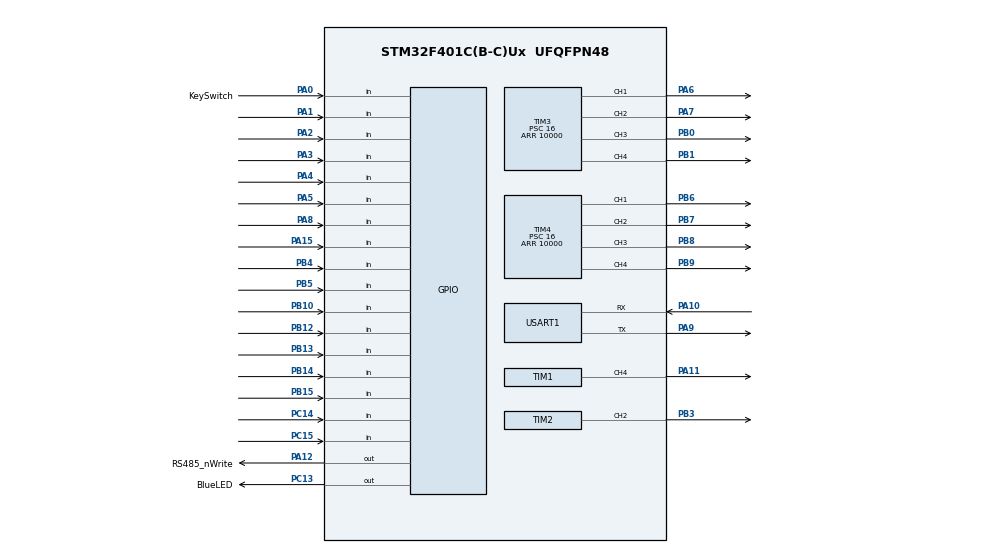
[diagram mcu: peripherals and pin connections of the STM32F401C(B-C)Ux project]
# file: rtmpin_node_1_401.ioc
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Dma.Request0=TIM2_CH2/CH4
Dma.TIM2_CH2/CH4.0.Direction=DMA_MEMORY_TO_PERIPH
Dma.TIM2_CH2/CH4.0.FIFOMode=DMA_FIFOMODE_DISABLE
Dma.TIM2_CH2/CH4.0.Instance=DMA1_Stream6
Dma.TIM2_CH2/CH4.0.MemDataAlignment=DMA_MDATAALIGN_WORD
Dma.TIM2_CH2/CH4.0.MemInc=DMA_MINC_ENABLE
Dma.TIM2_CH2/CH4.0.Mode=DMA_CIRCULAR
Dma.TIM2_CH2/CH4.0.PeriphDataAlignment=DMA_PDATAALIGN_WORD
Dma.TIM2_CH2/CH4.0.PeriphInc=DMA_PINC_DISABLE
Dma.TIM2_CH2/CH4.0.Priority=DMA_PRIORITY_HIGH
Mcu.Family=STM32F4
Mcu.Name=STM32F401C(B-C)Ux
Mcu.Package=UFQFPN48
Mcu.UserConstants=SOLFORCE25,4300;SOLFORCE50,7500
NVIC.DMA1_Stream6_IRQn=true\:0\:0\:false\:false\:true\:false\:true
NVIC.PriorityGroup=NVIC_PRIORITYGROUP_4
NVIC.USART1_IRQn=true\:0\:0\:false\:false\:true\:true\:true
PA0-WKUP.GPIO_Label=KeySwitch
PA0-WKUP.Signal=GPIO_Input
PA1.GPIO_PuPd=GPIO_PULLUP
PA1.Signal=GPIO_Input
PA10.Mode=Asynchronous
PA10.Signal=USART1_RX
PA11.Signal=S_TIM1_CH4
PA12.GPIO_Label=RS485_nWrite
PA12.GPIO_PuPd=GPIO_NOPULL
PA12.Signal=GPIO_Output
PA13.Mode=Serial_Wire
PA13.Signal=SYS_JTMS-SWDIO
PA14.Mode=Serial_Wire
PA14.Signal=SYS_JTCK-SWCLK
PA15.GPIO_PuPd=GPIO_PULLUP
PA15.Signal=GPIO_Input
PA2.GPIO_PuPd=GPIO_PULLUP
PA2.Signal=GPIO_Input
PA3.GPIO_PuPd=GPIO_PULLUP
PA3.Signal=GPIO_Input
PA4.GPIO_PuPd=GPIO_PULLUP
PA4.Signal=GPIO_Input
PA5.GPIO_PuPd=GPIO_PULLUP
PA5.Signal=GPIO_Input
PA6.Signal=S_TIM3_CH1
PA7.Signal=S_TIM3_CH2
PA8.GPIO_PuPd=GPIO_PULLUP
PA8.Signal=GPIO_Input
PA9.Mode=Asynchronous
PA9.Signal=USART1_TX
PB0.Signal=S_TIM3_CH3
PB1.Signal=S_TIM3_CH4
PB10.GPIO_PuPd=GPIO_PULLUP
PB10.Signal=GPIO_Input
PB12.GPIO_PuPd=GPIO_PULLUP
PB12.Signal=GPIO_Input
PB13.GPIO_PuPd=GPIO_PULLUP
PB13.Signal=GPIO_Input
PB14.GPIO_PuPd=GPIO_PULLUP
PB14.Signal=GPIO_Input
PB15.GPIO_PuPd=GPIO_PULLUP
PB15.Signal=GPIO_Input
PB3.Signal=S_TIM2_CH2
PB4.GPIO_PuPd=GPIO_PULLUP
PB4.Signal=GPIO_Input
PB5.GPIO_PuPd=GPIO_PULLUP
PB5.Signal=GPIO_Input
PB6.Signal=S_TIM4_CH1
PB7.Signal=S_TIM4_CH2
PB8.Signal=S_TIM4_CH3
PB9.Signal=S_TIM4_CH4
PC13-ANTI_TAMP.GPIO_Label=BlueLED
PC13-ANTI_TAMP.Signal=GPIO_Output
PC14-OSC32_IN.GPIO_PuPd=GPIO_PULLUP
PC14-OSC32_IN.Signal=GPIO_Input
PC15-OSC32_OUT.GPIO_PuPd=GPIO_PULLUP
PC15-OSC32_OUT.Signal=GPIO_Input
PH0\ -\ OSC_IN.Mode=HSE-External-Oscillator
PH0\ -\ OSC_IN.Signal=RCC_OSC_IN
PH1\ -\ OSC_OUT.Mode=HSE-External-Oscillator
PH1\ -\ OSC_OUT.Signal=RCC_OSC_OUT
ProjectManager.HeapSize=0x200
ProjectManager.StackSize=0x400
ProjectManager.TargetToolchain=STM32CubeIDE
RCC.48MHZClocksFreq_Value=42000000
RCC.AHBFreq_Value=84000000
RCC.APB1CLKDivider=RCC_HCLK_DIV2
RCC.APB1Freq_Value=42000000
RCC.APB1TimFreq_Value=84000000
RCC.APB2Freq_Value=84000000
RCC.APB2TimFreq_Value=84000000
RCC.CortexFreq_Value=84000000
RCC.HCLKFreq_Value=84000000
RCC.HSE_VALUE=25000000
RCC.HSI_VALUE=16000000
RCC.LSE_VALUE=32768
RCC.PLLM=25
RCC.PLLN=168
RCC.PLLSourceVirtual=RCC_PLLSOURCE_HSE
RCC.SYSCLKFreq_VALUE=84000000
RCC.SYSCLKSource=RCC_SYSCLKSOURCE_PLLCLK
RCC.VCOOutputFreq_Value=168000000
SH.S_TIM1_CH4.0=TIM1_CH4,PWM Generation4 CH4
SH.S_TIM2_CH2.0=TIM2_CH2,PWM Generation2 CH2
SH.S_TIM3_CH1.0=TIM3_CH1,PWM Generation1 CH1
SH.S_TIM3_CH2.0=TIM3_CH2,PWM Generation2 CH2
SH.S_TIM3_CH3.0=TIM3_CH3,PWM Generation3 CH3
SH.S_TIM3_CH4.0=TIM3_CH4,PWM Generation4 CH4
SH.S_TIM4_CH1.0=TIM4_CH1,PWM Generation1 CH1
SH.S_TIM4_CH2.0=TIM4_CH2,PWM Generation2 CH2
SH.S_TIM4_CH3.0=TIM4_CH3,PWM Generation3 CH3
SH.S_TIM4_CH4.0=TIM4_CH4,PWM Generation4 CH4
TIM1.Channel-PWM\ Generation4\ CH4=TIM_CHANNEL_4
TIM2.Channel-PWM\ Generation2\ CH2=TIM_CHANNEL_2
TIM2.Period=104
TIM2.Pulse-PWM\ Generation2\ CH2=0
TIM3.Channel-PWM\ Generation1\ CH1=TIM_CHANNEL_1
TIM3.Channel-PWM\ Generation2\ CH2=TIM_CHANNEL_2
TIM3.Channel-PWM\ Generation3\ CH3=TIM_CHANNEL_3
TIM3.Channel-PWM\ Generation4\ CH4=TIM_CHANNEL_4
TIM3.Period=10000
TIM3.Prescaler=16
TIM3.Pulse-PWM\ Generation1\ CH1=SOLFORCE25
TIM3.Pulse-PWM\ Generation2\ CH2=SOLFORCE25
TIM3.Pulse-PWM\ Generation3\ CH3=SOLFORCE25
TIM3.Pulse-PWM\ Generation4\ CH4=SOLFORCE25
TIM4.Channel-PWM\ Generation1\ CH1=TIM_CHANNEL_1
TIM4.Channel-PWM\ Generation2\ CH2=TIM_CHANNEL_2
TIM4.Channel-PWM\ Generation3\ CH3=TIM_CHANNEL_3
TIM4.Channel-PWM\ Generation4\ CH4=TIM_CHANNEL_4
TIM4.Period=10000
TIM4.Prescaler=16
TIM4.Pulse-PWM\ Generation1\ CH1=SOLFORCE50
TIM4.Pulse-PWM\ Generation2\ CH2=9000
TIM4.Pulse-PWM\ Generation3\ CH3=10000
TIM4.Pulse-PWM\ Generation4\ CH4=SOLFORCE50
USART1.VirtualMode=VM_ASYNC
VP_CRC_VS_CRC.Mode=CRC_Activate
VP_TIM1_VS_ClockSourceINT.Mode=Internal
VP_TIM2_VS_ClockSourceINT.Mode=Internal
VP_TIM3_VS_ClockSourceINT.Mode=Internal
VP_TIM4_VS_ClockSourceINT.Mode=Internal
board=custom

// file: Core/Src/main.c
/* USER CODE BEGIN Header */
/**
  ******************************************************************************
  * @file           : main.c
  * @brief          : Main program body
  ******************************************************************************
  * @attention
  *
  * Copyright (c) 2022 STMicroelectronics.
  * All rights reserved.
  *
  * This software is licensed under terms that can be found in the LICENSE file
  * in the root directory of this software component.
  * If no LICENSE file comes with this software, it is provided AS-IS.
  *
  ******************************************************************************
  */
/* USER CODE END Header */
#include "main.h"

CRC_HandleTypeDef hcrc;

/* USER CODE BEGIN PV */
uint8_t dataArrived = 0;
uint8_t currentRx = 0;

static uint32_t tmp_led_data[2*3*8];
static uint32_t current_led;        /*!< Current LED number we are sending */

uint32_t led[NR_OF_LEDS]; /* holds the color (0xWWRRGGBB) of all LEDs */

uint8_t rxBuffer[17]; /* addr&length + data (max 16) */
uint8_t rxBufferUpdated; /* new frame complete */
uint8_t nodeStatus; /* 	      * 0 -> standard (receiving) operation
                              * 1 -> send data to Pi
                              * 2 -> Software update of this node
                              * 3 -> Software update of other nodes */

/* USER CODE END PV */

void SystemClock_Config(void);
static void MX_GPIO_Init(void);
static void MX_DMA_Init(void);
static void MX_TIM1_Init(void);
static void MX_TIM2_Init(void);
static void MX_TIM3_Init(void);
static void MX_TIM4_Init(void);
static void MX_USART1_UART_Init(void);
static void MX_CRC_Init(void);

/* USER CODE BEGIN 0 */

/* Control of LED strips is  based on this idea: https://stm32f4-discovery.net/2018/06/tutorial-control-ws2812b-leds-stm32/ */
/**
 * \brief           Prepares data from memory for PWM output for timer
 * \note            Memory is in format R,G,B, while PWM must be configured in G,R,B[,W]
 * \param[in]       ledx: LED index to set the color
 * \param[out]      ptr: Output array with at least LED_CFG_RAW_BYTES_PER_LED-words of memory
 */
static uint8_t led_fill_led_pwm_data(uint8_t ledx, uint32_t* ptr) {
    uint8_t i;

    if (ledx < NR_OF_LEDS) {
        for (i = 0; i < 8; i++) {
            ptr[i] =        (led[ledx] & (1 << (15 - i))) ? (2 * TIM2->ARR / 3) : (TIM2->ARR / 3);
            ptr[8 + i] =    (led[ledx] & (1 << (23 - i))) ? (2 * TIM2->ARR / 3) : (TIM2->ARR / 3);
            ptr[16 + i] =   (led[ledx] & (1 << (7 - i))) ? (2 * TIM2->ARR / 3) : (TIM2->ARR / 3);
        }
        return 1;
    }
    return 0;
}

/**
 * \brief           Update sequence function, called on each DMA transfer complete or half-transfer complete events
 * \param[in]       tc: Transfer complete flag. Set to `1` on TC event, or `0` on HT event
 *
 * \note            TC = Transfer-Complete event, called at the end of block
 * \note            HT = Half-Transfer-Complete event, called in the middle of elements transfered by DMA
 *                  If block is 48 elements (our case),
 *                      HT is called when first LED_CFG_RAW_BYTES_PER_LED elements are transfered,
 *                      TC is called when second LED_CFG_RAW_BYTES_PER_LED elements are transfered.
 *
 * \note            This function must be called from DMA interrupt
 */
void led_update_sequence(uint8_t tc) {
    tc = !!tc;                                  /* Convert to 1 or 0 value only */

    if (current_led < NR_OF_LEDS) {

			current_led++;
			/*
			 *  if there was no TC event (it was HT):
			 *
			 *  - Prepare first part of array, because either there is no transfer
			 *      or second part (from HT to TC) is now in process for PWM transfer
			 *
			 * In other case (TC = 1)
			 */
			if (!tc) {
				led_fill_led_pwm_data(current_led, &tmp_led_data[0]);
			} else {
				led_fill_led_pwm_data(current_led, &tmp_led_data[3*8]);
			}

	/*
	 * When we reached all leds, we have to wait to transmit data for all leds before we can disable DMA and PWM:
	 *
	 *  - If TC event is enabled and we have EVEN number of LEDS (2, 4, 6, ...)
	 *  - If HT event is enabled and we have ODD number of LEDS (1, 3, 5, ...)
	 */
	} else if ((!tc && (NR_OF_LEDS & 0x01)) || (tc && !(NR_OF_LEDS & 0x01))) {
		LL_TIM_CC_DisableChannel(TIM2, LL_TIM_CHANNEL_CH2); /* Disable channel */
		LL_TIM_DisableCounter(TIM2);
		LL_DMA_DisableStream(DMA1, LL_DMA_STREAM_6);
	}
}

void handleSerialData() {
	static uint32_t lastTick;
	static uint8_t rxLength; /* number of data bytes to be received. addr&length not counted;  */
	static uint8_t rxByteNr;  /* index of received byte (start with 0) */
	static uint8_t rxAddress; /* node to be addressed, read from first byte */
	static uint8_t nodesSending; /* mode when nodes are sending and Pi is quiet */

	if ( (uwTick - lastTick) > 5 ) /* resync if there was no data for longer than 5 ms */
	{
		rxLength = 0;
		rxByteNr = 0;
		rxAddress = 0;
		nodesSending = 0;
	}
	lastTick = uwTick;

	if ( nodesSending ) {
		rxByteNr++;
		if ( rxByteNr == 2*NODE_ADDRESS ) { /* this node is about to send except if its node 0 */
			nodeStatus = 1;
			rxByteNr += 2;
		}
		if ( rxByteNr == 2*NR_OF_NODES ) { /* all nodes finished sending */
			nodesSending = 0;
			rxByteNr = 0;
		}
	} else {
		if ( rxByteNr == 0 ) {
			rxByteNr++;
			rxLength = currentRx & 0xf; /* get length */
			rxAddress = currentRx>>4;  /* get address */

			if ( rxLength == 0xf ) /* Software update */
			{
				rxLength = 16; /* 16 bytes, that it is a multiple of 4 (good for CRC calculation) */
				if ( rxAddress == NODE_ADDRESS )
				{
					nodeStatus = 2; /* Software update of this node */
				} else
				{
					nodeStatus = 3;  /* Software update of other node */
				}
			}

			if ( rxAddress == NODE_ADDRESS ) {
				rxBuffer[0] = currentRx;
			}

			if ( (rxAddress == 14) && (nodeStatus != 2) && (nodeStatus != 3) ) {
				if (NODE_ADDRESS == 0) { /* start sending if this is node 0 */
					nodeStatus = 1;
					rxByteNr = 2;
				} else {
					rxByteNr = 0;
				}
				if (NR_OF_NODES > 1) {
					nodesSending = 1; /* more nodes are connected */
				} else {
					rxByteNr = 0;  /* this is the one and only node */
				}
			}
		} else {
			if ( rxAddress == NODE_ADDRESS ) {
				rxBuffer[rxByteNr] = currentRx;
			}
			if (rxByteNr == rxLength) {
				rxByteNr = 0;
				if ( rxAddress == NODE_ADDRESS ) {
					rxBufferUpdated = 1;
				}
			} else {
				rxByteNr++;
			}
		}
	}

}

/* USER CODE END 0 */

int main(void)
{
  /* USER CODE BEGIN 1 */

	/* to be started form bootloader, see also
	 * https://embetronicx.com/tutorials/microcontrollers/stm32/bootloader/simple-stm32-bootloader-implementation-bootloader-tutorial/
	 * edit system_stm32f4xx.c as well to enter offset and #define USER_VECT_TAB_ADDRESS
	 * and edit linker script STM32F401CCUX_FLASH.ld */
	__disable_irq();
	SCB->VTOR = 0x8004000;
	__DSB();
	__enable_irq();

  /* USER CODE END 1 */

  /* MCU Configuration--------------------------------------------------------*/

  /* Reset of all peripherals, Initializes the Flash interface and the Systick. */
  HAL_Init();

  /* USER CODE BEGIN Init */
  rxBufferUpdated = 0;

  nodeStatus = 0;
  for (uint8_t bb = 0; bb < 17; bb++)
  {
	  rxBuffer[bb] = 0;
  }

  uint8_t txSwitchesByte1 = 0; /* all switches off, switches are low-active */
  uint8_t txSwitchesByte2 = 0;
  uint8_t prevTxSwitchByte1 = 0;
  uint8_t prevTxSwitchByte2 = 0;
  uint8_t txByte1_transmitted = 0;
  uint32_t stReload;
  uint32_t stNow, stOld;
  uint32_t stTicks = 0;
  uint32_t slingPulse = 0;
  uint32_t bumprightPulse = 0;
  uint32_t bumpmidPulse = 0;
  uint32_t bumpleftPulse = 0;
  uint32_t kickbackPulse = 0;
  uint32_t kickbackGrace = 0;
  uint32_t flipperPulse = 0;
  uint32_t readyToSendCounter = 0;
  uint32_t packetWatchDog = 0;

  /* USER CODE END Init */

  /* Configure the system clock */
  SystemClock_Config();

  /* Initialize all configured peripherals */
  MX_GPIO_Init();
  MX_DMA_Init();
  MX_TIM1_Init();
  MX_TIM2_Init();
  MX_TIM3_Init();
  MX_TIM4_Init();
  MX_USART1_UART_Init();
  MX_CRC_Init();
  /* USER CODE BEGIN 2 */

  /* All outputs off */
  LL_TIM_CC_DisableChannel (TIM3, LL_TIM_CHANNEL_CH1);
  LL_TIM_CC_DisableChannel (TIM3, LL_TIM_CHANNEL_CH2);
  LL_TIM_CC_DisableChannel (TIM3, LL_TIM_CHANNEL_CH3);
  LL_TIM_CC_DisableChannel (TIM3, LL_TIM_CHANNEL_CH4);
  LL_TIM_CC_DisableChannel (TIM4, LL_TIM_CHANNEL_CH1);
  LL_TIM_CC_DisableChannel (TIM4, LL_TIM_CHANNEL_CH2);
  LL_TIM_CC_DisableChannel (TIM4, LL_TIM_CHANNEL_CH3);
  LL_TIM_CC_DisableChannel (TIM4, LL_TIM_CHANNEL_CH4);
  LL_TIM_EnableCounter(TIM3);
  LL_TIM_EnableCounter(TIM4);

  stOld = SysTick->VAL;
  stReload = SysTick->LOAD;

  /* USER CODE END 2 */

  /* Infinite loop */
  /* USER CODE BEGIN WHILE */
  while (1)
  {
		/* count systicks. Only works that easy as the while loop is shorter than 1 ms!! Ohterwise make a systick interrupt */
	    stNow = SysTick->VAL;
		if( stNow != stOld )
		{
			if ( stNow < stOld )
			{
				stTicks = (stOld - stNow);
			}
			else
			{
				stTicks = (stReload - stNow + stOld);
			}
			stOld = stNow;
		}

		if(dataArrived)
		{
			dataArrived = 0;
			handleSerialData();
		}

		/* ---------- SW update  ----------- */

		if ( nodeStatus == 3 ) /* Software update of other node */
		{
			  NVIC_DisableIRQ(USART1_IRQn);
			  /* All outputs off */
			  LL_TIM_CC_DisableChannel (TIM3, LL_TIM_CHANNEL_CH1);
			  LL_TIM_CC_DisableChannel (TIM3, LL_TIM_CHANNEL_CH2);
			  LL_TIM_CC_DisableChannel (TIM3, LL_TIM_CHANNEL_CH3);
			  LL_TIM_CC_DisableChannel (TIM3, LL_TIM_CHANNEL_CH4);
			  LL_TIM_CC_DisableChannel (TIM4, LL_TIM_CHANNEL_CH1);
			  LL_TIM_CC_DisableChannel (TIM4, LL_TIM_CHANNEL_CH2);
			  LL_TIM_CC_DisableChannel (TIM4, LL_TIM_CHANNEL_CH3);
			  LL_TIM_CC_DisableChannel (TIM4, LL_TIM_CHANNEL_CH4);
			  LL_TIM_EnableCounter(TIM3);
			  LL_TIM_EnableCounter(TIM4);
			  txSwitchesByte1 = 0; /* all switches off */
			  txSwitchesByte2 = 0;
			  prevTxSwitchByte1 = 0;
			  prevTxSwitchByte2 = 0;
			  LL_GPIO_ResetOutputPin(BlueLED_GPIO_Port, BlueLED_Pin);

	  		  HAL_Delay(20000);
			  NVIC_SystemReset();
		}

		/* write new code to flash and reset */
		if (rxBufferUpdated && (nodeStatus == 2) ) /* Software update */
		{
			uint8_t ww = 0;
			uint32_t loopcounter = 0; /* timer */
			uint8_t blbl = 0; /* blink blink - so oft wird geblinkt */
			uint32_t writeAddress = 0x08020000; /* begin of sector 5 */
			HAL_FLASH_Unlock();

			while (1)
			{
				if(dataArrived)
				{
					dataArrived = 0;
					handleSerialData();
				}

				if (rxBufferUpdated && (nodeStatus == 2) )
				{
					rxBufferUpdated = 0;
					loopcounter = 0;
					LL_GPIO_TogglePin (GPIOC, LL_GPIO_PIN_13);
					for (ww = 0; ww < 16; ww++)
					{
						HAL_FLASH_Program(FLASH_TYPEPROGRAM_BYTE, writeAddress, ((uint8_t *)(rxBuffer+1))[ww] );
						writeAddress++;
					}
				}
				loopcounter++;
				if ( loopcounter > 3000000 ) /* ganz grob eine Sekunde */
				{
					LL_GPIO_TogglePin (GPIOC, LL_GPIO_PIN_13);
					loopcounter = 0;
					blbl++;
				}
				if (blbl == 6) NVIC_SystemReset();
			}
		}
		/* ---------- SW update end ----------- */

		if (rxBufferUpdated) {
		  LL_GPIO_TogglePin (GPIOC, LL_GPIO_PIN_13);
		  rxBufferUpdated = 0;
		  packetWatchDog = 0;

		  led[0] = ((rxBuffer[2]>>7)&1) ? BLUE : BLACK;
		  led[1] = ((rxBuffer[2]>>6)&1) ? RED : BLACK;
		  led[2] = ((rxBuffer[2]>>5)&1) ? ORANGE : BLACK;
		  led[3] = ((rxBuffer[2]>>4)&1) ? RED : BLACK;
		  led[4] = ((rxBuffer[2]>>3)&1) ? RED : BLACK;
		  led[5] = ((rxBuffer[2]>>2)&1) ? WHITE : BLACK;
		  led[6] = ((rxBuffer[2]>>1)&1) ? WHITE : BLACK;
		  led[7] = ((rxBuffer[2]>>0)&1) ? RED : BLACK;

		  led[8] = ((rxBuffer[3]>>7)&1) ? RED : BLACK;
		  led[9] = ((rxBuffer[3]>>6)&1) ? RED : BLACK;
		  led[10] = ((rxBuffer[3]>>5)&1) ? RED : BLACK;
		  led[11] = ((rxBuffer[3]>>4)&1) ? ORANGE : BLACK;
		  led[12] = ((rxBuffer[3]>>3)&1) ? RED : BLACK;
		  led[13] = ((rxBuffer[3]>>2)&1) ? ORANGE : BLACK;
		  led[14] = ((rxBuffer[3]>>1)&1) ? ORANGE : BLACK;
		  led[15] = ((rxBuffer[3]>>0)&1) ? RED : BLACK;

		  led[16] = ((rxBuffer[4]>>7)&1) ? RED : BLACK;
		  led[17] = ((rxBuffer[4]>>6)&1) ? WHITE : BLACK;
		  led[18] = ((rxBuffer[4]>>5)&1) ? RED : BLACK;
		  led[19] = ((rxBuffer[4]>>4)&1) ? YELLOW : BLACK;
		  led[20] = ((rxBuffer[4]>>3)&1) ? RED : BLACK;
		  led[21] = ((rxBuffer[4]>>2)&1) ? RED : BLACK;
		  led[22] = ((rxBuffer[4]>>1)&1) ? RED : BLACK;
		  led[23] = ((rxBuffer[4]>>0)&1) ? RED : BLACK;

		  led[24] = ((rxBuffer[5]>>7)&1) ? WHITE : BLACK;
		  led[25] = ((rxBuffer[5]>>6)&1) ? RED : BLACK;
		  led[26] = ((rxBuffer[5]>>5)&1) ? PINK : BLACK;
		  led[27] = ((rxBuffer[5]>>4)&1) ? WHITE : BLACK;
		  led[28] = ((rxBuffer[5]>>3)&1) ? WHITE : BLACK;
		  led[29] = ((rxBuffer[5]>>2)&1) ? WHITE : BLACK;
		  led[30] = ((rxBuffer[5]>>1)&1) ? RED : BLACK;
/*		  led[31] = ((rxBuffer[5]>>0)&1) ? WHITE : BLACK;*/
		  if ((rxBuffer[5]>>0)&1) led[31] = WHITE;
		  else if ((rxBuffer[9]>>7)&1) led[31] = RED;
		  else if ((rxBuffer[9]>>6)&1) led[31] = YELLOW;
		  else if ((rxBuffer[9]>>5)&1) led[31] = GREEN;
		  else led[31] = BLACK;

/*		  led[32] = ((rxBuffer[6]>>7)&1) ? WHITE : BLACK;*/
		  if ((rxBuffer[6]>>7)&1) led[32] = WHITE;
		  else if ((rxBuffer[8]>>5)&1) led[32] = RED;
		  else if ((rxBuffer[8]>>4)&1) led[32] = YELLOW;
		  else if ((rxBuffer[8]>>3)&1) led[32] = GREEN;
		  else led[32] = BLACK;
		  led[33] = ((rxBuffer[6]>>6)&1) ? RED : BLACK;
		  led[34] = ((rxBuffer[6]>>5)&1) ? RED : BLACK;
		  led[35] = ((rxBuffer[6]>>4)&1) ? RED : BLACK;
		  led[36] = ((rxBuffer[6]>>3)&1) ? RED : BLACK;
		  led[37] = ((rxBuffer[6]>>2)&1) ? WHITE : BLACK;
		  led[38] = ((rxBuffer[6]>>1)&1) ? WHITE : BLACK;
		  led[39] = ((rxBuffer[6]>>0)&1) ? WHITE : BLACK;

		  led[40] = ((rxBuffer[7]>>7)&1) ? ORANGE : BLACK;
		  led[41] = ((rxBuffer[7]>>6)&1) ? WHITE : BLACK;
		  led[42] = ((rxBuffer[7]>>5)&1) ? ORANGE : BLACK;
		  led[43] = ((rxBuffer[7]>>4)&1) ? ORANGE : BLACK;
		  led[44] = ((rxBuffer[7]>>3)&1) ? ORANGE : BLACK;
		  led[45] = ((rxBuffer[7]>>2)&1) ? WHITE : BLACK;
		  led[46] = ((rxBuffer[7]>>1)&1) ? WHITE : BLACK;
		  led[47] = ((rxBuffer[7]>>0)&1) ? ORANGE : BLACK;

/*		  led[48] = ((rxBuffer[8]>>7)&1) ? WHITE : BLACK;*/
		  if ((rxBuffer[8]>>7)&1) led[48] = WHITE;
		  else if ((rxBuffer[9]>>4)&1) led[48] = RED;
		  else if ((rxBuffer[9]>>3)&1) led[48] = YELLOW;
		  else if ((rxBuffer[9]>>2)&1) led[48] = GREEN;
		  else led[48] = BLACK;
/*		  led[49] = ((rxBuffer[8]>>6)&1) ? WHITE : BLACK;*/
		  if ((rxBuffer[8]>>6)&1) led[49] = WHITE;
		  else if ((rxBuffer[8]>>2)&1) led[49] = RED;
		  else if ((rxBuffer[8]>>1)&1) led[49] = YELLOW;
		  else if ((rxBuffer[8]>>0)&1) led[49] = GREEN;
		  else led[49] = BLACK;
		  led[50] = ((rxBuffer[8]>>5)&1) ? RED : BLACK;  /* Dummy LED */
		  led[51] = ((rxBuffer[8]>>4)&1) ? YELLOW : BLACK;  /* Dummy LED */
		  led[52] = ((rxBuffer[8]>>3)&1) ? GREEN : BLACK;  /* Dummy LED */
		  led[53] = ((rxBuffer[8]>>2)&1) ? RED : BLACK;  /* Dummy LED */
		  led[54] = ((rxBuffer[8]>>1)&1) ? YELLOW : BLACK;  /* Dummy LED */
		  led[55] = ((rxBuffer[8]>>0)&1) ? GREEN : BLACK;  /* Dummy LED */

		  led[56] = ((rxBuffer[9]>>7)&1) ? RED : BLACK;  /* Dummy LED */
		  led[57] = ((rxBuffer[9]>>6)&1) ? YELLOW : BLACK;  /* Dummy LED */
		  led[58] = ((rxBuffer[9]>>5)&1) ? GREEN : BLACK;  /* Dummy LED */
		  led[59] = ((rxBuffer[9]>>4)&1) ? RED : BLACK;  /* Dummy LED */
		  led[60] = ((rxBuffer[9]>>3)&1) ? YELLOW : BLACK;  /* Dummy LED */
		  led[61] = ((rxBuffer[9]>>2)&1) ? GREEN : BLACK;  /* Dummy LED */

		  current_led = 0;
		  led_fill_led_pwm_data(current_led, &tmp_led_data[0]); /* first LED */
		  current_led++;
		  led_fill_led_pwm_data(current_led, &tmp_led_data[3*8]); /* second LED */

	      LL_DMA_ClearFlag_TC6(DMA1);
	      LL_DMA_ClearFlag_HT6(DMA1);
	      LL_DMA_EnableStream(DMA1, LL_DMA_STREAM_6);
	      LL_TIM_SetCounter (TIM2, 0);
	      LL_TIM_EnableCounter(TIM2);
	      LL_TIM_CC_EnableChannel(TIM2, LL_TIM_CHANNEL_CH2);

			/* Set and reset outputs (solenoids, magnets, flashers) */
			/* OB8 */
			/* OB8 -> left flipper controlled by flipper button. Pi only enables flipper generally (e.g. not tilt)
			((rxBuffer[1]>>7)&1) ?
				LL_TIM_CC_EnableChannel (TIM4, LL_TIM_CHANNEL_CH3) : LL_TIM_CC_EnableChannel (TIM4, LL_TIM_CHANNEL_CH3);*/
			/* OB9 */
			((rxBuffer[1]>>6)&1) ?
				LL_TIM_CC_EnableChannel (TIM4, LL_TIM_CHANNEL_CH4) : LL_TIM_CC_DisableChannel (TIM4, LL_TIM_CHANNEL_CH4);
			/* OB1 */
			/* OB1 -> left sling shot controlled by switch -> see later in code. Pi only enables sling generally */
			/*((rxBuffer[1]>>5)&1) ?
				LL_TIM_CC_EnableChannel (TIM3, LL_TIM_CHANNEL_CH4) : LL_TIM_CC_DisableChannel (TIM3, LL_TIM_CHANNEL_CH4);*/
			/* OB6 */
			((rxBuffer[1]>>4)&1) ?
				LL_TIM_CC_EnableChannel (TIM4, LL_TIM_CHANNEL_CH1) : LL_TIM_CC_DisableChannel (TIM4, LL_TIM_CHANNEL_CH1);
			/* OB7 */
			((rxBuffer[1]>>3)&1) ?
				LL_TIM_CC_EnableChannel (TIM4, LL_TIM_CHANNEL_CH2) : LL_TIM_CC_DisableChannel (TIM4, LL_TIM_CHANNEL_CH2);
			/* OA6 */
			/* OA6 -> Bumper controlled by switch -> see later in code. Pi only enables bumper generally */
			/*((rxBuffer[1]>>2)&1) ?
				LL_TIM_CC_EnableChannel (TIM3, LL_TIM_CHANNEL_CH1) : LL_TIM_CC_DisableChannel (TIM3, LL_TIM_CHANNEL_CH1);*/
			/* OA7 */
			/* OA6 -> Bumper controlled by switch -> see later in code. Pi only enables bumper generally */
			/*((rxBuffer[1]>>1)&1) ?
				LL_TIM_CC_EnableChannel (TIM3, LL_TIM_CHANNEL_CH2) : LL_TIM_CC_DisableChannel (TIM3, LL_TIM_CHANNEL_CH2);*/
			/* OB0 */
			/* OA6 -> Bumper controlled by switch -> see later in code. Pi only enables bumper generally */
			/*((rxBuffer[1]>>0)&1) ?
				LL_TIM_CC_EnableChannel (TIM3, LL_TIM_CHANNEL_CH3) : LL_TIM_CC_DisableChannel (TIM3, LL_TIM_CHANNEL_CH3);*/

		}

	    /* Poll switches and remember if they where activated until they are reset to 0
	     * after sent to Pi */
		txSwitchesByte1 |= (
				LL_GPIO_IsInputPinSet (GPIOA, LL_GPIO_PIN_8)<<7 |
				LL_GPIO_IsInputPinSet (GPIOA, LL_GPIO_PIN_5)<<6 |
				LL_GPIO_IsInputPinSet (GPIOA, LL_GPIO_PIN_4)<<5 |
				LL_GPIO_IsInputPinSet (GPIOA, LL_GPIO_PIN_3)<<4 |
				LL_GPIO_IsInputPinSet (GPIOA, LL_GPIO_PIN_2)<<3 |
				LL_GPIO_IsInputPinSet (GPIOA, LL_GPIO_PIN_1)<<2 |
				LL_GPIO_IsInputPinSet (GPIOB, LL_GPIO_PIN_13)<<1 |
				LL_GPIO_IsInputPinSet (GPIOB, LL_GPIO_PIN_12));
		txSwitchesByte2 |= (
				LL_GPIO_IsInputPinSet (GPIOB, LL_GPIO_PIN_10)<<7 |
				LL_GPIO_IsInputPinSet (GPIOB, LL_GPIO_PIN_5)<<6 |
				LL_GPIO_IsInputPinSet (GPIOB, LL_GPIO_PIN_4)<<5 |
				LL_GPIO_IsInputPinSet (GPIOA, LL_GPIO_PIN_15)<<4 |
				LL_GPIO_IsInputPinSet (GPIOC, LL_GPIO_PIN_15)<<3 |
				LL_GPIO_IsInputPinSet (GPIOC, LL_GPIO_PIN_14)<<2 |
				LL_GPIO_IsInputPinSet (GPIOB, LL_GPIO_PIN_15)<<1 |
				LL_GPIO_IsInputPinSet (GPIOB, LL_GPIO_PIN_14));

		/* set fast solenoids (controlled solenoids by stwitch) */

		/* right flipper Button pressed and enabled, don't use
		 * txSwitchesByte1 here (as they stay 1 until transferred to Pi) */
		if ( (LL_GPIO_IsInputPinSet (GPIOC, LL_GPIO_PIN_15)) && ((rxBuffer[1]>>7)&1) )
		{
			LL_TIM_CC_EnableChannel (TIM4, LL_TIM_CHANNEL_CH3);
		}
		else
		{
			if (flipperPulse > 420000) /* minimum on time is 5 ms to debounce flipper button (if it bounces the flipper doesn't get full power) */
			{
				LL_TIM_CC_DisableChannel (TIM4, LL_TIM_CHANNEL_CH3);
				flipperPulse = 0;
			}
		}
		if ( LL_TIM_CC_IsEnabledChannel(TIM4, LL_TIM_CHANNEL_CH3) ) flipperPulse += stTicks;

		/* rising edge of left sling shot switch */
		if ( ((txSwitchesByte2>>1)&1) && !((prevTxSwitchByte2>>1)&1) && ((rxBuffer[1]>>5)&1) && !slingPulse )
		{
			slingPulse = 1;
			LL_TIM_CC_EnableChannel (TIM3, LL_TIM_CHANNEL_CH4);
		}
		if ( slingPulse ) slingPulse += stTicks;
		if ( slingPulse > 3360000 ) LL_TIM_CC_DisableChannel (TIM3, LL_TIM_CHANNEL_CH4); /* 40 ms @ 84 MHz */
		if ( slingPulse > 33600000 ) slingPulse = 0; /* anti bouncing 400 ms @ 84 MHz */

		/* rising edge of right bumper switch */
		if ( ((txSwitchesByte1>>7)&1) && !((prevTxSwitchByte1>>7)&1) && ((rxBuffer[1]>>0)&1) &&!bumprightPulse )
		{
			bumprightPulse = 1;
			LL_TIM_CC_EnableChannel (TIM3, LL_TIM_CHANNEL_CH3);
		}
		if ( bumprightPulse ) bumprightPulse += stTicks;
		if ( bumprightPulse > 3360000 ) LL_TIM_CC_DisableChannel (TIM3, LL_TIM_CHANNEL_CH3); /* 40 ms @ 84 MHz */
		if ( bumprightPulse > 33600000 ) bumprightPulse = 0; /* anti bouncing 400 ms @ 84 MHz */

		/* rising edge of middle bumper switch */
		if ( ((txSwitchesByte1>>6)&1) && !((prevTxSwitchByte1>>6)&1) && ((rxBuffer[1]>>1)&1) && !bumpmidPulse )
		{
			bumpmidPulse = 1;
			LL_TIM_CC_EnableChannel (TIM3, LL_TIM_CHANNEL_CH2);
		}
		if ( bumpmidPulse ) bumpmidPulse += stTicks;
		if ( bumpmidPulse > 3360000 ) LL_TIM_CC_DisableChannel (TIM3, LL_TIM_CHANNEL_CH2); /* 40 ms @ 84 MHz */
		if ( bumpmidPulse > 33600000 ) bumpmidPulse = 0; /* anti bouncing 400 ms @ 84 MHz */

		/* rising edge of left bumper switch */
		if ( ((txSwitchesByte1>>5)&1) && !((prevTxSwitchByte1>>5)&1) && ((rxBuffer[1]>>2)&1) && !bumpleftPulse )
		{
			bumpleftPulse = 1;
			LL_TIM_CC_EnableChannel (TIM3, LL_TIM_CHANNEL_CH1);
		}
		if ( bumpleftPulse ) bumpleftPulse += stTicks;
		if ( bumpleftPulse > 3360000 ) LL_TIM_CC_DisableChannel (TIM3, LL_TIM_CHANNEL_CH1); /* 40 ms @ 84 MHz */
		if ( bumpleftPulse > 33600000 ) bumpleftPulse = 0; /* anti bouncing 400 ms @ 84 MHz */

		/* rising edge of kickback switch */
		if ( ((txSwitchesByte2>>2)&1) && !((prevTxSwitchByte2>>2)&1) && (((rxBuffer[1]>>6)&1) | kickbackGrace) && !kickbackPulse )
		{
			kickbackPulse = 1;
			LL_TIM_CC_EnableChannel (TIM4, LL_TIM_CHANNEL_CH4);
			kickbackGrace = 1;
		}
		if ( kickbackPulse ) kickbackPulse += stTicks;
		if ( kickbackPulse > 3360000 ) LL_TIM_CC_DisableChannel (TIM4, LL_TIM_CHANNEL_CH4); /* 40 ms @ 84 MHz */
		if ( kickbackPulse > 8400000 ) kickbackPulse = 0; /* anti bouncing 100 ms @ 84 MHz */
		if ( kickbackGrace ) kickbackGrace += stTicks;
		if ( kickbackGrace > 420000000 ) kickbackGrace = 0; /* grace period 4 s @ 84 MHz */

		/* send status to Pi, currently only switch states */
		if ( nodeStatus == 1 )
		{
			/* wait a little (minimum half a bit with) to be sure that TransmitComplete of previous node is done and RS485 bus is free */
			if ( readyToSendCounter > 4200 ) /* 50 µs @ 84 MHz */
			{
				if ( LL_USART_IsActiveFlag_TXE(USART1) && (!txByte1_transmitted) )
				{
					LL_GPIO_SetOutputPin (GPIOA, RS485_nWrite_Pin);
					LL_USART_TransmitData8 (USART1, txSwitchesByte1);
					txByte1_transmitted = 1;
				}
				if ( LL_USART_IsActiveFlag_TXE(USART1) && txByte1_transmitted ) {
						LL_USART_TransmitData8 (USART1, txSwitchesByte2);
						nodeStatus = 0;
						txByte1_transmitted = 0;
						readyToSendCounter = 0;
						txSwitchesByte1 = 0;
						txSwitchesByte2 = 0;
				}
			}
			readyToSendCounter += stTicks;

			 /* Timeout sendStatus after 5 ms @ 84 MHz */
			if ( readyToSendCounter > 420000 )
			{
				nodeStatus = 0;
				readyToSendCounter = 0;
				txByte1_transmitted = 0;
			}
		}

		prevTxSwitchByte1 = txSwitchesByte1;
		prevTxSwitchByte2 = txSwitchesByte2;

		/* Paketintervall-Überwachung*/
		packetWatchDog += stTicks;
		/* toggle LED after 4 seconds */
		if ( packetWatchDog > 336000000 ) LL_GPIO_TogglePin (GPIOC, LL_GPIO_PIN_13);
		/* Timeout WatchDog: 5 s @ 84 MHz */
		if ( packetWatchDog > 420000000 )
		{
			NVIC_SystemReset();
		}

  }
    /* USER CODE END WHILE */

}

void SystemClock_Config(void)
{
  LL_FLASH_SetLatency(LL_FLASH_LATENCY_2);
  while(LL_FLASH_GetLatency()!= LL_FLASH_LATENCY_2)
  {
  }
  LL_PWR_SetRegulVoltageScaling(LL_PWR_REGU_VOLTAGE_SCALE2);
  LL_RCC_HSE_Enable();

   /* Wait till HSE is ready */
  while(LL_RCC_HSE_IsReady() != 1)
  {

  }
  LL_RCC_PLL_ConfigDomain_SYS(LL_RCC_PLLSOURCE_HSE, LL_RCC_PLLM_DIV_25, 168, LL_RCC_PLLP_DIV_2);
  LL_RCC_PLL_Enable();

   /* Wait till PLL is ready */
  while(LL_RCC_PLL_IsReady() != 1)
  {

  }
  LL_RCC_SetAHBPrescaler(LL_RCC_SYSCLK_DIV_1);
  LL_RCC_SetAPB1Prescaler(LL_RCC_APB1_DIV_2);
  LL_RCC_SetAPB2Prescaler(LL_RCC_APB2_DIV_1);
  LL_RCC_SetSysClkSource(LL_RCC_SYS_CLKSOURCE_PLL);

   /* Wait till System clock is ready */
  while(LL_RCC_GetSysClkSource() != LL_RCC_SYS_CLKSOURCE_STATUS_PLL)
  {

  }
  LL_SetSystemCoreClock(84000000);

   /* Update the time base */
  if (HAL_InitTick (TICK_INT_PRIORITY) != HAL_OK)
  {
    Error_Handler();
  }
  LL_RCC_SetTIMPrescaler(LL_RCC_TIM_PRESCALER_TWICE);
}

static void MX_CRC_Init(void)
{

  hcrc.Instance = CRC;
  if (HAL_CRC_Init(&hcrc) != HAL_OK)
  {
    Error_Handler();
  }

}

static void MX_TIM1_Init(void)
{

  LL_TIM_InitTypeDef TIM_InitStruct = {0};
  LL_TIM_OC_InitTypeDef TIM_OC_InitStruct = {0};
  LL_TIM_BDTR_InitTypeDef TIM_BDTRInitStruct = {0};

  LL_GPIO_InitTypeDef GPIO_InitStruct = {0};

  /* Peripheral clock enable */
  LL_APB2_GRP1_EnableClock(LL_APB2_GRP1_PERIPH_TIM1);

  TIM_InitStruct.Prescaler = 0;
  TIM_InitStruct.CounterMode = LL_TIM_COUNTERMODE_UP;
  TIM_InitStruct.Autoreload = 65535;
  TIM_InitStruct.ClockDivision = LL_TIM_CLOCKDIVISION_DIV1;
  TIM_InitStruct.RepetitionCounter = 0;
  LL_TIM_Init(TIM1, &TIM_InitStruct);
  LL_TIM_DisableARRPreload(TIM1);
  LL_TIM_SetClockSource(TIM1, LL_TIM_CLOCKSOURCE_INTERNAL);
  LL_TIM_OC_EnablePreload(TIM1, LL_TIM_CHANNEL_CH4);
  TIM_OC_InitStruct.OCMode = LL_TIM_OCMODE_PWM1;
  TIM_OC_InitStruct.OCState = LL_TIM_OCSTATE_DISABLE;
  TIM_OC_InitStruct.OCNState = LL_TIM_OCSTATE_DISABLE;
  TIM_OC_InitStruct.CompareValue = 0;
  TIM_OC_InitStruct.OCPolarity = LL_TIM_OCPOLARITY_HIGH;
  TIM_OC_InitStruct.OCIdleState = LL_TIM_OCIDLESTATE_LOW;
  TIM_OC_InitStruct.OCNIdleState = LL_TIM_OCIDLESTATE_LOW;
  LL_TIM_OC_Init(TIM1, LL_TIM_CHANNEL_CH4, &TIM_OC_InitStruct);
  LL_TIM_OC_DisableFast(TIM1, LL_TIM_CHANNEL_CH4);
  LL_TIM_SetTriggerOutput(TIM1, LL_TIM_TRGO_RESET);
  LL_TIM_DisableMasterSlaveMode(TIM1);
  TIM_BDTRInitStruct.OSSRState = LL_TIM_OSSR_DISABLE;
  TIM_BDTRInitStruct.OSSIState = LL_TIM_OSSI_DISABLE;
  TIM_BDTRInitStruct.LockLevel = LL_TIM_LOCKLEVEL_OFF;
  TIM_BDTRInitStruct.DeadTime = 0;
  TIM_BDTRInitStruct.BreakState = LL_TIM_BREAK_DISABLE;
  TIM_BDTRInitStruct.BreakPolarity = LL_TIM_BREAK_POLARITY_HIGH;
  TIM_BDTRInitStruct.AutomaticOutput = LL_TIM_AUTOMATICOUTPUT_DISABLE;
  LL_TIM_BDTR_Init(TIM1, &TIM_BDTRInitStruct);
  LL_AHB1_GRP1_EnableClock(LL_AHB1_GRP1_PERIPH_GPIOA);
  /**TIM1 GPIO Configuration
  PA11   ------> TIM1_CH4
  */
  GPIO_InitStruct.Pin = LL_GPIO_PIN_11;
  GPIO_InitStruct.Mode = LL_GPIO_MODE_ALTERNATE;
  GPIO_InitStruct.Speed = LL_GPIO_SPEED_FREQ_LOW;
  GPIO_InitStruct.OutputType = LL_GPIO_OUTPUT_PUSHPULL;
  GPIO_InitStruct.Pull = LL_GPIO_PULL_NO;
  GPIO_InitStruct.Alternate = LL_GPIO_AF_1;
  LL_GPIO_Init(GPIOA, &GPIO_InitStruct);

}

static void MX_TIM2_Init(void)
{

  LL_TIM_InitTypeDef TIM_InitStruct = {0};
  LL_TIM_OC_InitTypeDef TIM_OC_InitStruct = {0};

  LL_GPIO_InitTypeDef GPIO_InitStruct = {0};

  /* Peripheral clock enable */
  LL_APB1_GRP1_EnableClock(LL_APB1_GRP1_PERIPH_TIM2);

  /* TIM2 DMA Init */

  /* TIM2_CH2_CH4 Init */
  LL_DMA_SetChannelSelection(DMA1, LL_DMA_STREAM_6, LL_DMA_CHANNEL_3);

  LL_DMA_SetDataTransferDirection(DMA1, LL_DMA_STREAM_6, LL_DMA_DIRECTION_MEMORY_TO_PERIPH);

  LL_DMA_SetStreamPriorityLevel(DMA1, LL_DMA_STREAM_6, LL_DMA_PRIORITY_HIGH);

  LL_DMA_SetMode(DMA1, LL_DMA_STREAM_6, LL_DMA_MODE_CIRCULAR);

  LL_DMA_SetPeriphIncMode(DMA1, LL_DMA_STREAM_6, LL_DMA_PERIPH_NOINCREMENT);

  LL_DMA_SetMemoryIncMode(DMA1, LL_DMA_STREAM_6, LL_DMA_MEMORY_INCREMENT);

  LL_DMA_SetPeriphSize(DMA1, LL_DMA_STREAM_6, LL_DMA_PDATAALIGN_WORD);

  LL_DMA_SetMemorySize(DMA1, LL_DMA_STREAM_6, LL_DMA_MDATAALIGN_WORD);

  LL_DMA_DisableFifoMode(DMA1, LL_DMA_STREAM_6);

  /* USER CODE BEGIN TIM2_Init 1 */
  LL_DMA_SetPeriphAddress(DMA1, LL_DMA_STREAM_6, (uint32_t)&TIM2->CCR2);
  LL_DMA_SetMemoryAddress(DMA1, LL_DMA_STREAM_6, (uint32_t)tmp_led_data);
  LL_DMA_SetDataLength(DMA1, LL_DMA_STREAM_6, 2*3*8);
  LL_DMA_EnableIT_TC(DMA1, LL_DMA_STREAM_6);
  LL_DMA_EnableIT_HT(DMA1, LL_DMA_STREAM_6);

  /* USER CODE END TIM2_Init 1 */
  TIM_InitStruct.Prescaler = 0;
  TIM_InitStruct.CounterMode = LL_TIM_COUNTERMODE_UP;
  TIM_InitStruct.Autoreload = 104;
  TIM_InitStruct.ClockDivision = LL_TIM_CLOCKDIVISION_DIV1;
  LL_TIM_Init(TIM2, &TIM_InitStruct);
  LL_TIM_DisableARRPreload(TIM2);
  LL_TIM_SetClockSource(TIM2, LL_TIM_CLOCKSOURCE_INTERNAL);
  LL_TIM_OC_EnablePreload(TIM2, LL_TIM_CHANNEL_CH2);
  TIM_OC_InitStruct.OCMode = LL_TIM_OCMODE_PWM1;
  TIM_OC_InitStruct.OCState = LL_TIM_OCSTATE_DISABLE;
  TIM_OC_InitStruct.OCNState = LL_TIM_OCSTATE_DISABLE;
  TIM_OC_InitStruct.CompareValue = 0;
  TIM_OC_InitStruct.OCPolarity = LL_TIM_OCPOLARITY_HIGH;
  LL_TIM_OC_Init(TIM2, LL_TIM_CHANNEL_CH2, &TIM_OC_InitStruct);
  LL_TIM_OC_DisableFast(TIM2, LL_TIM_CHANNEL_CH2);
  LL_TIM_SetTriggerOutput(TIM2, LL_TIM_TRGO_RESET);
  LL_TIM_DisableMasterSlaveMode(TIM2);
  /* USER CODE BEGIN TIM2_Init 2 */
  LL_TIM_EnableDMAReq_CC2(TIM2);              /* Enable DMA requests */

  /* USER CODE END TIM2_Init 2 */
  LL_AHB1_GRP1_EnableClock(LL_AHB1_GRP1_PERIPH_GPIOB);
  /**TIM2 GPIO Configuration
  PB3   ------> TIM2_CH2
  */
  GPIO_InitStruct.Pin = LL_GPIO_PIN_3;
  GPIO_InitStruct.Mode = LL_GPIO_MODE_ALTERNATE;
  GPIO_InitStruct.Speed = LL_GPIO_SPEED_FREQ_LOW;
  GPIO_InitStruct.OutputType = LL_GPIO_OUTPUT_PUSHPULL;
  GPIO_InitStruct.Pull = LL_GPIO_PULL_NO;
  GPIO_InitStruct.Alternate = LL_GPIO_AF_1;
  LL_GPIO_Init(GPIOB, &GPIO_InitStruct);

}

static void MX_TIM3_Init(void)
{

  LL_TIM_InitTypeDef TIM_InitStruct = {0};
  LL_TIM_OC_InitTypeDef TIM_OC_InitStruct = {0};

  LL_GPIO_InitTypeDef GPIO_InitStruct = {0};

  /* Peripheral clock enable */
  LL_APB1_GRP1_EnableClock(LL_APB1_GRP1_PERIPH_TIM3);

  TIM_InitStruct.Prescaler = 16;
  TIM_InitStruct.CounterMode = LL_TIM_COUNTERMODE_UP;
  TIM_InitStruct.Autoreload = 10000;
  TIM_InitStruct.ClockDivision = LL_TIM_CLOCKDIVISION_DIV1;
  LL_TIM_Init(TIM3, &TIM_InitStruct);
  LL_TIM_DisableARRPreload(TIM3);
  LL_TIM_SetClockSource(TIM3, LL_TIM_CLOCKSOURCE_INTERNAL);
  LL_TIM_OC_EnablePreload(TIM3, LL_TIM_CHANNEL_CH1);
  TIM_OC_InitStruct.OCMode = LL_TIM_OCMODE_PWM1;
  TIM_OC_InitStruct.OCState = LL_TIM_OCSTATE_DISABLE;
  TIM_OC_InitStruct.OCNState = LL_TIM_OCSTATE_DISABLE;
  TIM_OC_InitStruct.CompareValue = SOLFORCE25;
  TIM_OC_InitStruct.OCPolarity = LL_TIM_OCPOLARITY_HIGH;
  LL_TIM_OC_Init(TIM3, LL_TIM_CHANNEL_CH1, &TIM_OC_InitStruct);
  LL_TIM_OC_DisableFast(TIM3, LL_TIM_CHANNEL_CH1);
  LL_TIM_OC_EnablePreload(TIM3, LL_TIM_CHANNEL_CH2);
  LL_TIM_OC_Init(TIM3, LL_TIM_CHANNEL_CH2, &TIM_OC_InitStruct);
  LL_TIM_OC_DisableFast(TIM3, LL_TIM_CHANNEL_CH2);
  LL_TIM_OC_EnablePreload(TIM3, LL_TIM_CHANNEL_CH3);
  LL_TIM_OC_Init(TIM3, LL_TIM_CHANNEL_CH3, &TIM_OC_InitStruct);
  LL_TIM_OC_DisableFast(TIM3, LL_TIM_CHANNEL_CH3);
  LL_TIM_OC_EnablePreload(TIM3, LL_TIM_CHANNEL_CH4);
  LL_TIM_OC_Init(TIM3, LL_TIM_CHANNEL_CH4, &TIM_OC_InitStruct);
  LL_TIM_OC_DisableFast(TIM3, LL_TIM_CHANNEL_CH4);
  LL_TIM_SetTriggerOutput(TIM3, LL_TIM_TRGO_RESET);
  LL_TIM_DisableMasterSlaveMode(TIM3);
  LL_AHB1_GRP1_EnableClock(LL_AHB1_GRP1_PERIPH_GPIOA);
  LL_AHB1_GRP1_EnableClock(LL_AHB1_GRP1_PERIPH_GPIOB);
  /**TIM3 GPIO Configuration
  PA6   ------> TIM3_CH1
  PA7   ------> TIM3_CH2
  PB0   ------> TIM3_CH3
  PB1   ------> TIM3_CH4
  */
  GPIO_InitStruct.Pin = LL_GPIO_PIN_6|LL_GPIO_PIN_7;
  GPIO_InitStruct.Mode = LL_GPIO_MODE_ALTERNATE;
  GPIO_InitStruct.Speed = LL_GPIO_SPEED_FREQ_LOW;
  GPIO_InitStruct.OutputType = LL_GPIO_OUTPUT_PUSHPULL;
  GPIO_InitStruct.Pull = LL_GPIO_PULL_NO;
  GPIO_InitStruct.Alternate = LL_GPIO_AF_2;
  LL_GPIO_Init(GPIOA, &GPIO_InitStruct);

  GPIO_InitStruct.Pin = LL_GPIO_PIN_0|LL_GPIO_PIN_1;
  GPIO_InitStruct.Mode = LL_GPIO_MODE_ALTERNATE;
  GPIO_InitStruct.Speed = LL_GPIO_SPEED_FREQ_LOW;
  GPIO_InitStruct.OutputType = LL_GPIO_OUTPUT_PUSHPULL;
  GPIO_InitStruct.Pull = LL_GPIO_PULL_NO;
  GPIO_InitStruct.Alternate = LL_GPIO_AF_2;
  LL_GPIO_Init(GPIOB, &GPIO_InitStruct);

}

static void MX_TIM4_Init(void)
{

  LL_TIM_InitTypeDef TIM_InitStruct = {0};
  LL_TIM_OC_InitTypeDef TIM_OC_InitStruct = {0};

  LL_GPIO_InitTypeDef GPIO_InitStruct = {0};

  /* Peripheral clock enable */
  LL_APB1_GRP1_EnableClock(LL_APB1_GRP1_PERIPH_TIM4);

  TIM_InitStruct.Prescaler = 16;
  TIM_InitStruct.CounterMode = LL_TIM_COUNTERMODE_UP;
  TIM_InitStruct.Autoreload = 10000;
  TIM_InitStruct.ClockDivision = LL_TIM_CLOCKDIVISION_DIV1;
  LL_TIM_Init(TIM4, &TIM_InitStruct);
  LL_TIM_DisableARRPreload(TIM4);
  LL_TIM_SetClockSource(TIM4, LL_TIM_CLOCKSOURCE_INTERNAL);
  LL_TIM_OC_EnablePreload(TIM4, LL_TIM_CHANNEL_CH1);
  TIM_OC_InitStruct.OCMode = LL_TIM_OCMODE_PWM1;
  TIM_OC_InitStruct.OCState = LL_TIM_OCSTATE_DISABLE;
  TIM_OC_InitStruct.OCNState = LL_TIM_OCSTATE_DISABLE;
  TIM_OC_InitStruct.CompareValue = SOLFORCE50;
  TIM_OC_InitStruct.OCPolarity = LL_TIM_OCPOLARITY_HIGH;
  LL_TIM_OC_Init(TIM4, LL_TIM_CHANNEL_CH1, &TIM_OC_InitStruct);
  LL_TIM_OC_DisableFast(TIM4, LL_TIM_CHANNEL_CH1);
  LL_TIM_OC_EnablePreload(TIM4, LL_TIM_CHANNEL_CH2);
  TIM_OC_InitStruct.CompareValue = 9000;
  LL_TIM_OC_Init(TIM4, LL_TIM_CHANNEL_CH2, &TIM_OC_InitStruct);
  LL_TIM_OC_DisableFast(TIM4, LL_TIM_CHANNEL_CH2);
  LL_TIM_OC_EnablePreload(TIM4, LL_TIM_CHANNEL_CH3);
  TIM_OC_InitStruct.CompareValue = 10000;
  LL_TIM_OC_Init(TIM4, LL_TIM_CHANNEL_CH3, &TIM_OC_InitStruct);
  LL_TIM_OC_DisableFast(TIM4, LL_TIM_CHANNEL_CH3);
  LL_TIM_OC_EnablePreload(TIM4, LL_TIM_CHANNEL_CH4);
  TIM_OC_InitStruct.CompareValue = SOLFORCE50;
  LL_TIM_OC_Init(TIM4, LL_TIM_CHANNEL_CH4, &TIM_OC_InitStruct);
  LL_TIM_OC_DisableFast(TIM4, LL_TIM_CHANNEL_CH4);
  LL_TIM_SetTriggerOutput(TIM4, LL_TIM_TRGO_RESET);
  LL_TIM_DisableMasterSlaveMode(TIM4);
  LL_AHB1_GRP1_EnableClock(LL_AHB1_GRP1_PERIPH_GPIOB);
  /**TIM4 GPIO Configuration
  PB6   ------> TIM4_CH1
  PB7   ------> TIM4_CH2
  PB8   ------> TIM4_CH3
  PB9   ------> TIM4_CH4
  */
  GPIO_InitStruct.Pin = LL_GPIO_PIN_6|LL_GPIO_PIN_7|LL_GPIO_PIN_8|LL_GPIO_PIN_9;
  GPIO_InitStruct.Mode = LL_GPIO_MODE_ALTERNATE;
  GPIO_InitStruct.Speed = LL_GPIO_SPEED_FREQ_LOW;
  GPIO_InitStruct.OutputType = LL_GPIO_OUTPUT_PUSHPULL;
  GPIO_InitStruct.Pull = LL_GPIO_PULL_NO;
  GPIO_InitStruct.Alternate = LL_GPIO_AF_2;
  LL_GPIO_Init(GPIOB, &GPIO_InitStruct);

}

static void MX_USART1_UART_Init(void)
{

  LL_USART_InitTypeDef USART_InitStruct = {0};

  LL_GPIO_InitTypeDef GPIO_InitStruct = {0};

  /* Peripheral clock enable */
  LL_APB2_GRP1_EnableClock(LL_APB2_GRP1_PERIPH_USART1);

  LL_AHB1_GRP1_EnableClock(LL_AHB1_GRP1_PERIPH_GPIOA);
  /**USART1 GPIO Configuration
  PA9   ------> USART1_TX
  PA10   ------> USART1_RX
  */
  GPIO_InitStruct.Pin = LL_GPIO_PIN_9|LL_GPIO_PIN_10;
  GPIO_InitStruct.Mode = LL_GPIO_MODE_ALTERNATE;
  GPIO_InitStruct.Speed = LL_GPIO_SPEED_FREQ_VERY_HIGH;
  GPIO_InitStruct.OutputType = LL_GPIO_OUTPUT_PUSHPULL;
  GPIO_InitStruct.Pull = LL_GPIO_PULL_NO;
  GPIO_InitStruct.Alternate = LL_GPIO_AF_7;
  LL_GPIO_Init(GPIOA, &GPIO_InitStruct);

  /* USART1 interrupt Init */
  NVIC_SetPriority(USART1_IRQn, NVIC_EncodePriority(NVIC_GetPriorityGrouping(),0, 0));
  NVIC_EnableIRQ(USART1_IRQn);

  USART_InitStruct.BaudRate = 115200;
  USART_InitStruct.DataWidth = LL_USART_DATAWIDTH_8B;
  USART_InitStruct.StopBits = LL_USART_STOPBITS_1;
  USART_InitStruct.Parity = LL_USART_PARITY_NONE;
  USART_InitStruct.TransferDirection = LL_USART_DIRECTION_TX_RX;
  USART_InitStruct.HardwareFlowControl = LL_USART_HWCONTROL_NONE;
  USART_InitStruct.OverSampling = LL_USART_OVERSAMPLING_16;
  LL_USART_Init(USART1, &USART_InitStruct);
  LL_USART_ConfigAsyncMode(USART1);
  LL_USART_Enable(USART1);
  /* USER CODE BEGIN USART1_Init 2 */
  LL_USART_EnableIT_RXNE (USART1);
  LL_USART_EnableIT_TC (USART1);

  /* USER CODE END USART1_Init 2 */

}

static void MX_DMA_Init(void)
{

  /* Init with LL driver */
  /* DMA controller clock enable */
  LL_AHB1_GRP1_EnableClock(LL_AHB1_GRP1_PERIPH_DMA1);

  /* DMA interrupt init */
  /* DMA1_Stream6_IRQn interrupt configuration */
  NVIC_SetPriority(DMA1_Stream6_IRQn, NVIC_EncodePriority(NVIC_GetPriorityGrouping(),0, 0));
  NVIC_EnableIRQ(DMA1_Stream6_IRQn);

}

static void MX_GPIO_Init(void)
{
  LL_GPIO_InitTypeDef GPIO_InitStruct = {0};

  /* GPIO Ports Clock Enable */
  LL_AHB1_GRP1_EnableClock(LL_AHB1_GRP1_PERIPH_GPIOC);
  LL_AHB1_GRP1_EnableClock(LL_AHB1_GRP1_PERIPH_GPIOH);
  LL_AHB1_GRP1_EnableClock(LL_AHB1_GRP1_PERIPH_GPIOA);
  LL_AHB1_GRP1_EnableClock(LL_AHB1_GRP1_PERIPH_GPIOB);

  /**/
  LL_GPIO_ResetOutputPin(BlueLED_GPIO_Port, BlueLED_Pin);

  /**/
  LL_GPIO_ResetOutputPin(RS485_nWrite_GPIO_Port, RS485_nWrite_Pin);

  /**/
  GPIO_InitStruct.Pin = BlueLED_Pin;
  GPIO_InitStruct.Mode = LL_GPIO_MODE_OUTPUT;
  GPIO_InitStruct.Speed = LL_GPIO_SPEED_FREQ_LOW;
  GPIO_InitStruct.OutputType = LL_GPIO_OUTPUT_PUSHPULL;
  GPIO_InitStruct.Pull = LL_GPIO_PULL_NO;
  LL_GPIO_Init(BlueLED_GPIO_Port, &GPIO_InitStruct);

  /**/
  GPIO_InitStruct.Pin = LL_GPIO_PIN_14|LL_GPIO_PIN_15;
  GPIO_InitStruct.Mode = LL_GPIO_MODE_INPUT;
  GPIO_InitStruct.Pull = LL_GPIO_PULL_UP;
  LL_GPIO_Init(GPIOC, &GPIO_InitStruct);

  /**/
  GPIO_InitStruct.Pin = KeySwitch_Pin;
  GPIO_InitStruct.Mode = LL_GPIO_MODE_INPUT;
  GPIO_InitStruct.Pull = LL_GPIO_PULL_NO;
  LL_GPIO_Init(KeySwitch_GPIO_Port, &GPIO_InitStruct);

  /**/
  GPIO_InitStruct.Pin = LL_GPIO_PIN_1|LL_GPIO_PIN_2|LL_GPIO_PIN_3|LL_GPIO_PIN_4
                          |LL_GPIO_PIN_5|LL_GPIO_PIN_8|LL_GPIO_PIN_15;
  GPIO_InitStruct.Mode = LL_GPIO_MODE_INPUT;
  GPIO_InitStruct.Pull = LL_GPIO_PULL_UP;
  LL_GPIO_Init(GPIOA, &GPIO_InitStruct);

  /**/
  GPIO_InitStruct.Pin = LL_GPIO_PIN_10|LL_GPIO_PIN_12|LL_GPIO_PIN_13|LL_GPIO_PIN_14
                          |LL_GPIO_PIN_15|LL_GPIO_PIN_4|LL_GPIO_PIN_5;
  GPIO_InitStruct.Mode = LL_GPIO_MODE_INPUT;
  GPIO_InitStruct.Pull = LL_GPIO_PULL_UP;
  LL_GPIO_Init(GPIOB, &GPIO_InitStruct);

  /**/
  GPIO_InitStruct.Pin = RS485_nWrite_Pin;
  GPIO_InitStruct.Mode = LL_GPIO_MODE_OUTPUT;
  GPIO_InitStruct.Speed = LL_GPIO_SPEED_FREQ_LOW;
  GPIO_InitStruct.OutputType = LL_GPIO_OUTPUT_PUSHPULL;
  GPIO_InitStruct.Pull = LL_GPIO_PULL_NO;
  LL_GPIO_Init(RS485_nWrite_GPIO_Port, &GPIO_InitStruct);

}

void Error_Handler(void)
{
  __disable_irq();
  while (1)
  {
  }
}
